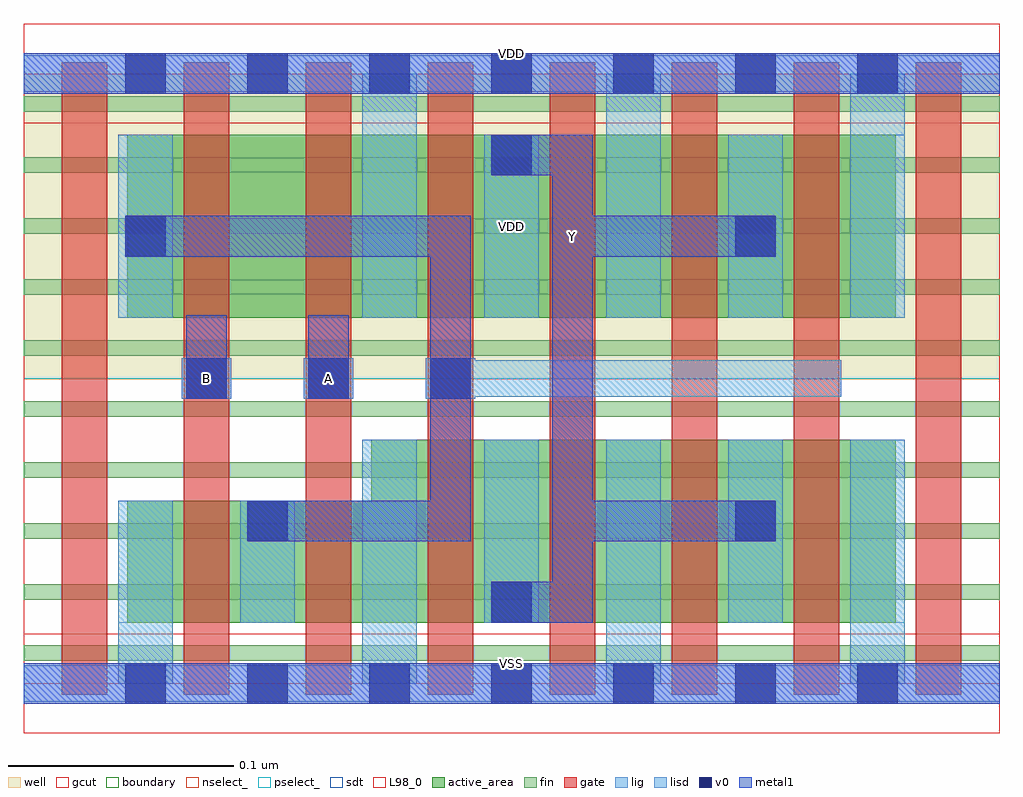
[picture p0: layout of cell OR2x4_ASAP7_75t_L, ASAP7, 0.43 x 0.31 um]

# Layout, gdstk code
import gdstk
lib = gdstk.Library(unit=1e-6, precision=2.5e-10)
def R(c, l, rs):  # rectangles x0, y0, x1, y1
    for r in rs: c.add(gdstk.rectangle(r[:2], r[2:], *l))
def A(c, l, x, y, w, h, nx, ny, dx, dy):  # array of equal rectangles
    R(c, l, [(x+i*dx, y+j*dy, x+i*dx+w, y+j*dy+h) for i in range(nx) for j in range(ny)])
def P(c, l, *ps):  # polygons
    for p in ps: c.add(gdstk.Polygon(p, *l))
well = (1, 0)
fin = (2, 0)
gate = (7, 0)
gcut = (10, 0)
active_area = (11, 0)
nselect_ = (12, 0)
pselect_ = (13, 0)
lig = (16, 0)
lisd = (17, 0)
v0 = (18, 0)
metal1 = (19, 0)
sdt = (88, 0)
L98_0 = (98, 0)
boundary = (100, 0)

or2x4_asap7_75t_l = lib.new_cell('OR2x4_ASAP7_75t_L')
R(or2x4_asap7_75t_l, well, [(0,0.135,0.432,0.27)])
A(or2x4_asap7_75t_l, fin, 0, 0.01, 0.432, 0.007, 1, 10, 0, 0.027)
A(or2x4_asap7_75t_l, gate, 0.017, -0.005, 0.02, 0.28, 8, 1, 0.054, 0)
R(or2x4_asap7_75t_l, gcut, [(0,-0.022,0.432,0.022), (0,0.248,0.432,0.292)])
R(or2x4_asap7_75t_l, active_area, [(0.046,0.162,0.386,0.243)])
P(or2x4_asap7_75t_l, active_area, [(0.154,0.081),(0.046,0.081),(0.046,0.027),(0.386,0.027),(0.386,0.108),(0.154,0.108)])
R(or2x4_asap7_75t_l, nselect_, [(0,0,0.432,0.135)])
R(or2x4_asap7_75t_l, pselect_, [(0,0.135,0.432,0.27)])
A(or2x4_asap7_75t_l, lig, 0.07, 0.126, 0.022, 0.018, 3, 1, 0.054, 0)
R(or2x4_asap7_75t_l, lig, [(0,-0.008,0.432,0.008), (0.178,0.127,0.362,0.143), (0,0.262,0.432,0.278)])
R(or2x4_asap7_75t_l, lisd, [(0.042,0,0.066,0.081), (0.042,0,0.066,0.081), (0.15,0,0.174,0.108), (0.15,0,0.174,0.108), (0.258,0,0.282,0.108), (0.258,0,0.282,0.108), (0.366,0,0.39,0.108), (0.366,0,0.39,0.108), (0.096,0.027,0.12,0.081), (0.204,0.027,0.228,0.108), (0.312,0.027,0.336,0.108), (0.042,0.162,0.066,0.243), (0.15,0.162,0.174,0.27), (0.15,0.162,0.174,0.27), (0.204,0.162,0.228,0.243), (0.258,0.162,0.282,0.27), (0.258,0.162,0.282,0.27), (0.312,0.162,0.336,0.243), (0.366,0.162,0.39,0.27), (0.366,0.162,0.39,0.27)])
A(or2x4_asap7_75t_l, v0, 0.045, -0.009, 0.018, 0.018, 7, 2, 0.054, 0.27)
A(or2x4_asap7_75t_l, v0, 0.072, 0.126, 0.018, 0.018, 3, 1, 0.054, 0)
R(or2x4_asap7_75t_l, v0, [(0.207,0.027,0.225,0.045), (0.099,0.063,0.117,0.081), (0.315,0.063,0.333,0.081), (0.045,0.189,0.063,0.207), (0.315,0.189,0.333,0.207), (0.207,0.225,0.225,0.243)])
A(or2x4_asap7_75t_l, metal1, 0.072, 0.126, 0.018, 0.018, 3, 1, 0.054, 0)
R(or2x4_asap7_75t_l, metal1, [(0,-0.009,0.432,0.009), (0.207,0.027,0.225,0.045), (0.099,0.063,0.117,0.081), (0.315,0.063,0.333,0.081), (0.072,0.126,0.09,0.163), (0.126,0.126,0.144,0.163), (0.045,0.189,0.063,0.207), (0.315,0.189,0.333,0.207), (0.207,0.225,0.225,0.243), (0,0.261,0.432,0.279)])
P(or2x4_asap7_75t_l, metal1, [(0.045,0.207),(0.045,0.189),(0.18,0.189),(0.18,0.081),(0.099,0.081),(0.099,0.063),(0.198,0.063),(0.198,0.207)],
  [(0.333,0.207),(0.252,0.207),(0.252,0.243),(0.207,0.243),(0.207,0.225),(0.234,0.225),(0.234,0.045),(0.207,0.045),(0.207,0.027),(0.252,0.027),(0.252,0.063),(0.333,0.063),(0.333,0.081),(0.252,0.081),(0.252,0.189),(0.333,0.189)])
A(or2x4_asap7_75t_l, sdt, 0.15, 0.027, 0.024, 0.081, 3, 2, 0.054, 0.135)
A(or2x4_asap7_75t_l, sdt, 0.258, 0.027, 0.024, 0.081, 3, 2, 0.054, 0.135)
R(or2x4_asap7_75t_l, sdt, [(0.042,0.027,0.066,0.081), (0.042,0.027,0.066,0.081), (0.096,0.027,0.12,0.081), (0.15,0.027,0.174,0.108), (0.366,0.027,0.39,0.108), (0.042,0.162,0.066,0.243), (0.15,0.162,0.174,0.243), (0.366,0.162,0.39,0.243)])
R(or2x4_asap7_75t_l, L98_0, [(0,0,0.432,0.27)])
R(or2x4_asap7_75t_l, boundary, [(0,0,0.432,0.27)])
or2x4_asap7_75t_l.add(gdstk.Label('VDD', (0.216,0.2025), layer=1, texttype=251))
or2x4_asap7_75t_l.add(gdstk.Label('VSS', (0.216,-0.0675), layer=3, texttype=251))
or2x4_asap7_75t_l.add(gdstk.Label('VSS', (0.216,0.009), layer=19, texttype=251))
or2x4_asap7_75t_l.add(gdstk.Label('VDD', (0.216,0.279), layer=19, texttype=251))
or2x4_asap7_75t_l.add(gdstk.Label('B', (0.081,0.135), layer=19, texttype=251))
or2x4_asap7_75t_l.add(gdstk.Label('A', (0.135,0.135), layer=19, texttype=251))
or2x4_asap7_75t_l.add(gdstk.Label('Y', (0.243,0.198), layer=19, texttype=251))

lib.write_gds('OR2x4_ASAP7_75t_L.gds')
